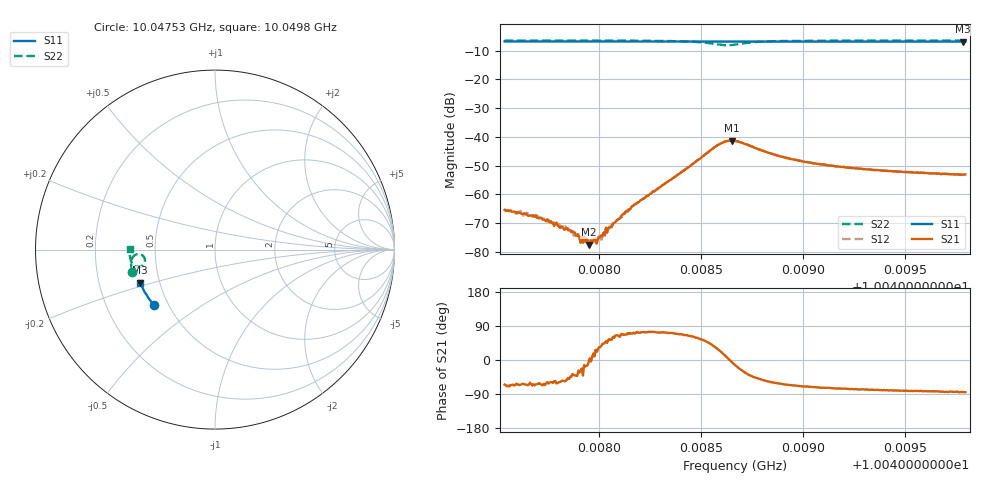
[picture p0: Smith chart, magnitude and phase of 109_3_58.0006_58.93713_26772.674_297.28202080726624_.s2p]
#  HZ  S  RI  R  50.00
! Rohde & Schwarz Vector Network Analyzer
! Rohde-Schwarz,ZNB20-2Port,1311601062101988,3.16
! Created: UTC 3/21/2024, 12:55:08 AM
! freq[Hz]  re:S11  im:S11  re:S21  im:S21  re:S12  im:S12  re:S22  im:S22
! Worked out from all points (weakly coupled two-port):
!   401 points, 10.04753 GHz to 10.0498 GHz, reference 50 ohm
!   highest |S21| = -41.29 dB at 10.04865 GHz (marker M1); lowest = -77.5 dB at 10.04795 GHz (marker M2)
!   lowest |S11| = -6.8 dB at 10.04979 GHz (marker M3), VSWR 2.68, Z = 19.4 - j9.03 ohm
!   |S11| at or under -10 dB: nowhere
!   |S22| runs from -8.1 to -6.4 dB; largest |S21 - S12| = 0.0006
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1.0047535e10  -0.3395 -0.3106  0.000229 -0.000485  0.000259 -0.00049  -0.4606 -0.1265
1.0047676e10  -0.3455 -0.3032  0.00019 -0.000388  0.000182 -0.000366  -0.4629 -0.1162
1.004775e10  -0.3487 -0.2997  0.000157 -0.000299  0.000207 -0.000301  -0.4639 -0.111
1.0047835e10  -0.3522 -0.2951  0.000143 -0.00021  0.000195 -0.000197  -0.4649 -0.1044
1.0047869e10  -0.3535 -0.2933  0.000181 -0.000135  0.000187 -0.000128  -0.4652 -0.1016
1.0047914e10  -0.3553 -0.2908  0.000167 -7e-05  0.000147 -4.08e-05  -0.4657 -0.0981
1.0047948e10  -0.3568 -0.289  0.000133 -1.16e-05  0.000148 4.89e-06  -0.4661 -0.0954
1.0047959e10  -0.357 -0.2885  0.000156 -1.05e-05  0.000178 -4.41e-10  -0.4663 -0.0943
1.0047999e10  -0.3588 -0.2864  0.000149 9.97e-05  0.000134 0.000112  -0.4665 -0.0909
1.0048021e10  -0.3597 -0.2852  0.000159 0.000148  0.00014 0.000158  -0.4667 -0.089
1.0048066e10  -0.3614 -0.2828  0.000148 0.000268  0.000157 0.000278  -0.4669 -0.0851
1.0048168e10  -0.3655 -0.2774  0.000199 0.000614  0.000162 0.000629  -0.4671 -0.0752
1.0048293e10  -0.3701 -0.2706  0.000382 0.00124  0.000314 0.0013  -0.4656 -0.0611
1.0048575e10  -0.3801 -0.2546  0.00596 0.00361  0.00575 0.00398  -0.4102 -0.0282
1.0048615e10  -0.3809 -0.2525  0.00804 0.00184  0.00794 0.00236  -0.393 -0.0462
1.0048649e10  -0.3821 -0.251  0.00858 -0.000742  0.00865 -0.000198  -0.3915 -0.0696
1.0048666e10  -0.3828 -0.25  0.00831 -0.00196  0.00848 -0.00141  -0.3962 -0.0799
1.0048875e10  -0.3904 -0.2386  0.00227 -0.00416  0.00253 -0.00404  -0.4594 -0.0788
1.0049045e10  -0.3959 -0.2285  0.00112 -0.00332  0.00133 -0.00326  -0.4696 -0.058
1.0049423e10  -0.4073 -0.2063  0.000445 -0.0025  0.000585 -0.00251  -0.4753 -0.0243
1.0049785e10  -0.417 -0.1844  0.000228 -0.00219  0.000317 -0.00222  -0.4764 0.0028
1.0049797e10  -0.4173 -0.1839  0.000199 -0.00221  0.000332 -0.00219  -0.4762 0.00364
